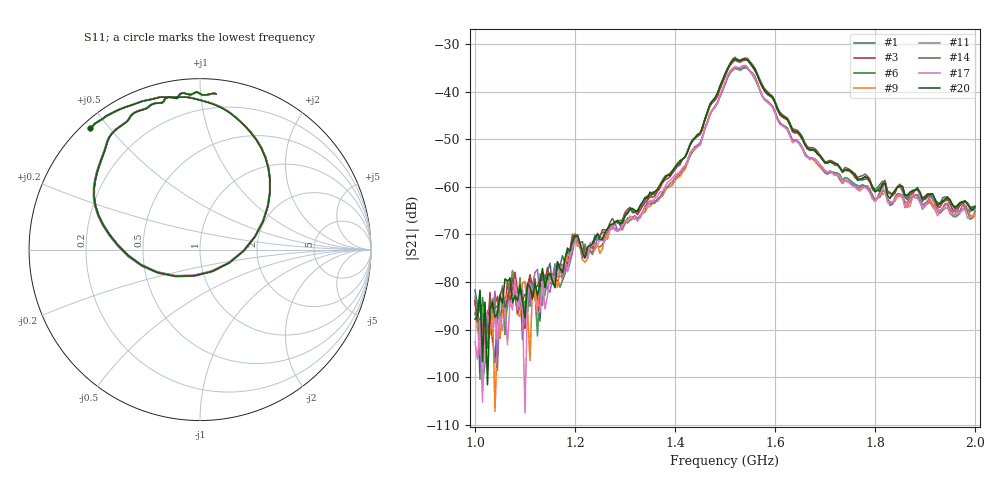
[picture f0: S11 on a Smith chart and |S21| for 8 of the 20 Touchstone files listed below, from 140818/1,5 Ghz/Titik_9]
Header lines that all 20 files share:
# Hz S RI R 50
! CMT, C1220, 16058040, 17.2.0/1
! Data: Format (Calibration Info)
! Freq  S11: Re/Im (F2)  S21: Re/Im (F2)  S12: Re/Im (F2)  S22: Re/Im (F2)
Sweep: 1 GHz to 2 GHz
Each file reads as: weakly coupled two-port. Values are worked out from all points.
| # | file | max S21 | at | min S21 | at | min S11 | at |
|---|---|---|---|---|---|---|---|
| 1 | Sudut_0_Titik_9.s2p | -32.81 dB | 1.52 GHz | -100.4 dB | 1.01 GHz | -16.8 dB | 1.53 GHz |
| 2 | Sudut_10_Titik_9.s2p | -33.07 dB | 1.52 GHz | -99.0 dB | 1.015 GHz | -16.8 dB | 1.53 GHz |
| 3 | Sudut_20_Titik_9.s2p | -33.37 dB | 1.54 GHz | -92.5 dB | 1.035 GHz | -16.8 dB | 1.53 GHz |
| 4 | Sudut_40_Titik_9.s2p | -33.89 dB | 1.54 GHz | -101.0 dB | 1.005 GHz | -16.8 dB | 1.53 GHz |
| 5 | Sudut_50_Titik_9.s2p | -34.35 dB | 1.54 GHz | -95.7 dB | 1 GHz | -16.8 dB | 1.53 GHz |
| 6 | Sudut_70_Titik_9.s2p | -35.01 dB | 1.54 GHz | -92.9 dB | 1.02 GHz | -16.9 dB | 1.53 GHz |
| 7 | Sudut_80_Titik_9.s2p | -35.08 dB | 1.54 GHz | -97.6 dB | 1.005 GHz | -17.0 dB | 1.53 GHz |
| 8 | Sudut_100_Titik_9.s2p | -35.08 dB | 1.54 GHz | -112.9 dB | 1.09 GHz | -16.9 dB | 1.53 GHz |
| 9 | Sudut_120_Titik_9.s2p | -34.81 dB | 1.54 GHz | -107.1 dB | 1.04 GHz | -16.7 dB | 1.53 GHz |
| 10 | Sudut_130_Titik_9.s2p | -34.90 dB | 1.54 GHz | -94.8 dB | 1.015 GHz | -16.6 dB | 1.53 GHz |
| 11 | Sudut_140_Titik_9.s2p | -34.86 dB | 1.54 GHz | -101.5 dB | 1.015 GHz | -16.5 dB | 1.53 GHz |
| 12 | Sudut_180_Titik_9.s2p | -33.57 dB | 1.54 GHz | -93.6 dB | 1.02 GHz | -16.6 dB | 1.53 GHz |
| 13 | Sudut_200_Titik_9.s2p | -32.95 dB | 1.54 GHz | -100.7 dB | 1.02 GHz | -16.7 dB | 1.53 GHz |
| 14 | Sudut_210_Titik_9.s2p | -32.98 dB | 1.54 GHz | -93.8 dB | 1.025 GHz | -16.7 dB | 1.53 GHz |
| 15 | Sudut_220_Titik_9.s2p | -33.12 dB | 1.54 GHz | -93.5 dB | 1 GHz | -16.7 dB | 1.53 GHz |
| 16 | Sudut_250_Titik_9.s2p | -34.42 dB | 1.54 GHz | -105.1 dB | 1 GHz | -16.9 dB | 1.53 GHz |
| 17 | Sudut_260_Titik_9.s2p | -34.47 dB | 1.54 GHz | -107.5 dB | 1.1 GHz | -17.0 dB | 1.53 GHz |
| 18 | Sudut_290_Titik_9.s2p | -34.37 dB | 1.54 GHz | -106.0 dB | 1.07 GHz | -16.6 dB | 1.53 GHz |
| 19 | Sudut_350_Titik_9.s2p | -33.17 dB | 1.52 GHz | -98.3 dB | 1.02 GHz | -16.8 dB | 1.53 GHz |
| 20 | Sudut_360_Titik_9.s2p | -33.15 dB | 1.52 GHz | -101.5 dB | 1.025 GHz | -16.8 dB | 1.53 GHz |
